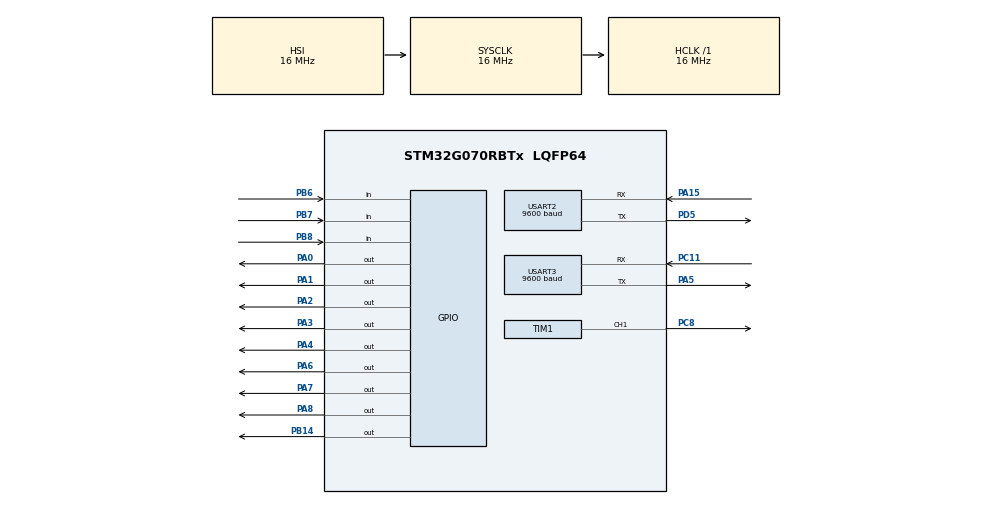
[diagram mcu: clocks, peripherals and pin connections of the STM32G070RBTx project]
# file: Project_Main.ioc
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Mcu.Family=STM32G0
Mcu.Name=STM32G070RBTx
Mcu.Package=LQFP64
PA0.Signal=GPIO_Output
PA1.Signal=GPIO_Output
PA13.Mode=Serial_Wire
PA13.Signal=SYS_SWDIO
PA14-BOOT0.Mode=Serial_Wire
PA14-BOOT0.Signal=SYS_SWCLK
PA15.Mode=Asynchronous
PA15.Signal=USART2_RX
PA2.Signal=GPIO_Output
PA3.Signal=GPIO_Output
PA4.Signal=GPIO_Output
PA5.Mode=Asynchronous
PA5.Signal=USART3_TX
PA6.Signal=GPIO_Output
PA7.Signal=GPIO_Output
PA8.Signal=GPIO_Output
PB14.Signal=GPIO_Output
PB6.Signal=GPIO_Input
PB7.Signal=GPIO_Input
PB8.Signal=GPIO_Input
PC11.Mode=Asynchronous
PC11.Signal=USART3_RX
PC14-OSC32_IN\ (PC14).Mode=LSE-External-Oscillator
PC14-OSC32_IN\ (PC14).Signal=RCC_OSC32_IN
PC15-OSC32_OUT\ (PC15).Mode=LSE-External-Oscillator
PC15-OSC32_OUT\ (PC15).Signal=RCC_OSC32_OUT
PC8.Signal=S_TIM1_CH1
PD5.Mode=Asynchronous
PD5.Signal=USART2_TX
PF0-OSC_IN\ (PF0).Mode=HSE-External-Clock-Source
PF0-OSC_IN\ (PF0).Signal=RCC_OSC_IN
ProjectManager.HeapSize=0x200
ProjectManager.StackSize=0x400
ProjectManager.TargetToolchain=STM32CubeIDE
RCC.AHBFreq_Value=16000000
RCC.CortexFreq_Value=16000000
RCC.EXTERNAL_CLOCK_VALUE=12288000
RCC.HCLKFreq_Value=16000000
RCC.HSE_VALUE=8000000
RCC.HSI_VALUE=16000000
RCC.SYSCLKFreq_VALUE=16000000
RCC.VCOOutputFreq_Value=128000000
SH.S_TIM1_CH1.0=TIM1_CH1,PWM Generation1 CH1
TIM1.Channel-PWM\ Generation1\ CH1=TIM_CHANNEL_1
TIM1.Period=255
TIM3.Channel-Output\ Compare1\ No\ Output=TIM_CHANNEL_1
USART2.BaudRate=9600
USART2.VirtualMode-Asynchronous=VM_ASYNC
USART3.BaudRate=9600
USART3.VirtualMode-Asynchronous=VM_ASYNC
VP_TIM3_VS_no_output1.Mode=Output Compare1 No Output
board=NUCLEO-G070RB

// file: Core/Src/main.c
/* USER CODE BEGIN Header */
/**
  ******************************************************************************
  * @file           : main.c
  * @brief          : Main program body
  ******************************************************************************
  * @attention
  *
  * Copyright (c) 2023 STMicroelectronics.
  * All rights reserved.
  *
  * This software is licensed under terms that can be found in the LICENSE file
  * in the root directory of this software component.
  * If no LICENSE file comes with this software, it is provided AS-IS.
  *
  ******************************************************************************
  */
/* USER CODE END Header */
#include "main.h"

/* USER CODE BEGIN Includes */

#include "stm32g0xx_hal.h"
/* USER CODE END Includes */

/* USER CODE BEGIN PD */
#define enA GPIO_PIN_0
#define in1 GPIO_PIN_1
#define in2 GPIO_PIN_2
#define in3 GPIO_PIN_3
#define in4 GPIO_PIN_4
#define enB GPIO_PIN_6

#define L_S GPIO_PIN_6
#define R_S GPIO_PIN_7

#define echo GPIO_PIN_8
#define trigger GPIO_PIN_7

#define servo GPIO_PIN_8

/* USER CODE END PD */

TIM_HandleTypeDef htim1;
TIM_HandleTypeDef htim3;

UART_HandleTypeDef huart2;
UART_HandleTypeDef huart3;

/* USER CODE BEGIN PV */
uint8_t rfidData[4]; // Buffer to store RFID tag data
char value;

/* USER CODE END PV */

void SystemClock_Config(void);
static void MX_GPIO_Init(void);
static void MX_USART2_UART_Init(void);
static void MX_TIM3_Init(void);
static void MX_USART3_UART_Init(void);
static void MX_TIM1_Init(void);
/* USER CODE BEGIN PFP */
int Set = 15;
int distance_L, distance_F, distance_R;

void servoPulse(uint16_t pin, uint16_t angle);
long Ultrasonic_read(void);
void compareDistance(void);
void Check_side(void);
void forword(void);
void backword(void);
void turnRight(void);
void turnLeft(void);
void Stop(void);

/* USER CODE END PFP */

/* USER CODE BEGIN 0 */
void RFID_ReceiveData(uint8_t* data, uint16_t size);
void RFID_ReceiveData2(uint8_t* data, uint16_t size);

/* USER CODE END 0 */

int main(void)
{

  /* MCU Configuration--------------------------------------------------------*/

  /* Reset of all peripherals, Initializes the Flash interface and the Systick. */
  HAL_Init();

  /* Configure the system clock */
  SystemClock_Config();

  /* Initialize all configured peripherals */
  MX_GPIO_Init();
  MX_USART2_UART_Init();
  MX_TIM3_Init();
  MX_USART3_UART_Init();
  MX_TIM1_Init();
  /* USER CODE BEGIN 2 */
  HAL_TIM_Base_Start(&htim3);
  HAL_TIM_PWM_Start(&htim1, TIM_CHANNEL_1);
  HAL_TIM_PWM_Start(&htim1, TIM_CHANNEL_2);
  HAL_TIM_PWM_Start(&htim1, TIM_CHANNEL_3);
  HAL_TIM_PWM_Start(&htim1, TIM_CHANNEL_4);

  for (int angle = 70; angle <= 140; angle += 5)
    {
      servoPulse(servo, angle);
    }
    for (int angle = 140; angle >= 0; angle -= 5)
    {
      servoPulse(servo, angle);
    }

    for (int angle = 0; angle <= 70; angle += 5)
    {
      servoPulse(servo, angle);
    }

    distance_F = Ultrasonic_read();

    HAL_Delay(500);

  /* USER CODE END 2 */

  /* Infinite loop */
  while (1)
  {

    /* USER CODE BEGIN 3 */
//	  distance_F = Ultrasonic_read();
//	  HAL_UART_Transmit(&huart2, (uint8_t*)"D F=", 4, HAL_MAX_DELAY);
//	  HAL_UART_Transmit(&huart2, (uint8_t*)distance_F, sizeof(distance_F), HAL_MAX_DELAY);
//	  if ((HAL_GPIO_ReadPin(GPIOA, R_S) == GPIO_PIN_RESET) && (HAL_GPIO_ReadPin(GPIOA, L_S) == GPIO_PIN_RESET))
//	  {
//		  if (distance_F > Set)
//		  {
//			  forword();
//	      }
//	      else
//	      {
//	          Check_side();
//	      }
//	   }
//	   else if ((HAL_GPIO_ReadPin(GPIOA, R_S) == GPIO_PIN_SET) && (HAL_GPIO_ReadPin(GPIOA, L_S) == GPIO_PIN_RESET))
//	   {
//	      turnRight();
//	   }
//	   else if ((HAL_GPIO_ReadPin(GPIOA, R_S) == GPIO_PIN_RESET) && (HAL_GPIO_ReadPin(GPIOA, L_S) == GPIO_PIN_SET))
//	   {
//	      turnLeft();
//	   }
//	   HAL_Delay(10);

	  HAL_GPIO_WritePin(GPIOB, GPIO_PIN_14, SET);

	   if (HAL_UART_Receive(&huart3, (uint8_t*)&value, 1, 0) == HAL_OK)
	       {
	         if (value == 'F')
	         {
	        	forword();
	        	HAL_GPIO_WritePin(GPIOB, GPIO_PIN_14, RESET);
//HAL_GPIO_TogglePin(GPIOB, GPIO_PIN_14);
//HAL_Delay(500);
	         }
	         else if (value == 'B')
	         {
	        	backword();
	        	//HAL_GPIO_TogglePin(GPIOB, GPIO_PIN_14);
	        	HAL_Delay(100);
	         }
	         else if (value == 'L')
	         {
	        	//turnLeft();
	        	//HAL_GPIO_TogglePin(GPIOB, GPIO_PIN_14);
	        	//HAL_Delay(1000);
	         }
	         else if (value == 'R')
	         {
	        	//turnRight();
	        	//HAL_GPIO_TogglePin(GPIOB, GPIO_PIN_14);
	        	//HAL_Delay(2000);
	         }
	         else
	         {
	        	Stop();
	        	HAL_GPIO_WritePin(GPIOB, GPIO_PIN_14, RESET);
	        		        	//HAL_Delay(2000);
	         }
	       }

  }

  /* USER CODE END 3 */
}

void SystemClock_Config(void)
{
  RCC_OscInitTypeDef RCC_OscInitStruct = {0};
  RCC_ClkInitTypeDef RCC_ClkInitStruct = {0};

  /** Configure the main internal regulator output voltage
  */
  HAL_PWREx_ControlVoltageScaling(PWR_REGULATOR_VOLTAGE_SCALE1);

  /** Initializes the RCC Oscillators according to the specified parameters
  * in the RCC_OscInitTypeDef structure.
  */
  RCC_OscInitStruct.OscillatorType = RCC_OSCILLATORTYPE_HSI;
  RCC_OscInitStruct.HSIState = RCC_HSI_ON;
  RCC_OscInitStruct.HSIDiv = RCC_HSI_DIV1;
  RCC_OscInitStruct.HSICalibrationValue = RCC_HSICALIBRATION_DEFAULT;
  RCC_OscInitStruct.PLL.PLLState = RCC_PLL_NONE;
  if (HAL_RCC_OscConfig(&RCC_OscInitStruct) != HAL_OK)
  {
    Error_Handler();
  }

  /** Initializes the CPU, AHB and APB buses clocks
  */
  RCC_ClkInitStruct.ClockType = RCC_CLOCKTYPE_HCLK|RCC_CLOCKTYPE_SYSCLK
                              |RCC_CLOCKTYPE_PCLK1;
  RCC_ClkInitStruct.SYSCLKSource = RCC_SYSCLKSOURCE_HSI;
  RCC_ClkInitStruct.AHBCLKDivider = RCC_SYSCLK_DIV1;
  RCC_ClkInitStruct.APB1CLKDivider = RCC_HCLK_DIV1;

  if (HAL_RCC_ClockConfig(&RCC_ClkInitStruct, FLASH_LATENCY_0) != HAL_OK)
  {
    Error_Handler();
  }
}

static void MX_TIM1_Init(void)
{

  TIM_MasterConfigTypeDef sMasterConfig = {0};
  TIM_OC_InitTypeDef sConfigOC = {0};
  TIM_BreakDeadTimeConfigTypeDef sBreakDeadTimeConfig = {0};

  htim1.Instance = TIM1;
  htim1.Init.Prescaler = 0;
  htim1.Init.CounterMode = TIM_COUNTERMODE_UP;
  htim1.Init.Period = 255;
  htim1.Init.ClockDivision = TIM_CLOCKDIVISION_DIV1;
  htim1.Init.RepetitionCounter = 0;
  htim1.Init.AutoReloadPreload = TIM_AUTORELOAD_PRELOAD_DISABLE;
  if (HAL_TIM_PWM_Init(&htim1) != HAL_OK)
  {
    Error_Handler();
  }
  sMasterConfig.MasterOutputTrigger = TIM_TRGO_RESET;
  sMasterConfig.MasterOutputTrigger2 = TIM_TRGO2_RESET;
  sMasterConfig.MasterSlaveMode = TIM_MASTERSLAVEMODE_DISABLE;
  if (HAL_TIMEx_MasterConfigSynchronization(&htim1, &sMasterConfig) != HAL_OK)
  {
    Error_Handler();
  }
  sConfigOC.OCMode = TIM_OCMODE_PWM1;
  sConfigOC.Pulse = 0;
  sConfigOC.OCPolarity = TIM_OCPOLARITY_HIGH;
  sConfigOC.OCNPolarity = TIM_OCNPOLARITY_HIGH;
  sConfigOC.OCFastMode = TIM_OCFAST_DISABLE;
  sConfigOC.OCIdleState = TIM_OCIDLESTATE_RESET;
  sConfigOC.OCNIdleState = TIM_OCNIDLESTATE_RESET;
  if (HAL_TIM_PWM_ConfigChannel(&htim1, &sConfigOC, TIM_CHANNEL_1) != HAL_OK)
  {
    Error_Handler();
  }
  sBreakDeadTimeConfig.OffStateRunMode = TIM_OSSR_DISABLE;
  sBreakDeadTimeConfig.OffStateIDLEMode = TIM_OSSI_DISABLE;
  sBreakDeadTimeConfig.LockLevel = TIM_LOCKLEVEL_OFF;
  sBreakDeadTimeConfig.DeadTime = 0;
  sBreakDeadTimeConfig.BreakState = TIM_BREAK_DISABLE;
  sBreakDeadTimeConfig.BreakPolarity = TIM_BREAKPOLARITY_HIGH;
  sBreakDeadTimeConfig.BreakFilter = 0;
  sBreakDeadTimeConfig.BreakAFMode = TIM_BREAK_AFMODE_INPUT;
  sBreakDeadTimeConfig.Break2State = TIM_BREAK2_DISABLE;
  sBreakDeadTimeConfig.Break2Polarity = TIM_BREAK2POLARITY_HIGH;
  sBreakDeadTimeConfig.Break2Filter = 0;
  sBreakDeadTimeConfig.Break2AFMode = TIM_BREAK_AFMODE_INPUT;
  sBreakDeadTimeConfig.AutomaticOutput = TIM_AUTOMATICOUTPUT_DISABLE;
  if (HAL_TIMEx_ConfigBreakDeadTime(&htim1, &sBreakDeadTimeConfig) != HAL_OK)
  {
    Error_Handler();
  }
  /* USER CODE BEGIN TIM1_Init 2 */
  TIM_ClockConfigTypeDef sClockSourceConfig = {0};

    htim1.Instance = TIM1;
    htim1.Init.Prescaler = 0;
    htim1.Init.CounterMode = TIM_COUNTERMODE_UP;
    htim1.Init.Period = 255;
    htim1.Init.ClockDivision = TIM_CLOCKDIVISION_DIV1;
    htim1.Init.RepetitionCounter = 0;
    htim1.Init.AutoReloadPreload = TIM_AUTORELOAD_PRELOAD_DISABLE;
    if (HAL_TIM_PWM_Init(&htim1) != HAL_OK)
    {
      Error_Handler();
    }

    sClockSourceConfig.ClockSource = TIM_CLOCKSOURCE_INTERNAL;
    if (HAL_TIM_ConfigClockSource(&htim1, &sClockSourceConfig) != HAL_OK)
    {
      Error_Handler();
    }

    if (HAL_TIM_PWM_ConfigChannel(&htim1, &sConfigOC, TIM_CHANNEL_1) != HAL_OK)
    {
      Error_Handler();
    }

    if (HAL_TIM_PWM_ConfigChannel(&htim1, &sConfigOC, TIM_CHANNEL_2) != HAL_OK)
    {
      Error_Handler();
    }

    if (HAL_TIM_PWM_ConfigChannel(&htim1, &sConfigOC, TIM_CHANNEL_3) != HAL_OK)
    {
      Error_Handler();
    }

    if (HAL_TIM_PWM_ConfigChannel(&htim1, &sConfigOC, TIM_CHANNEL_4) != HAL_OK)
    {
      Error_Handler();
    }

    sMasterConfig.MasterOutputTrigger = TIM_TRGO_RESET;
    sMasterConfig.MasterOutputTrigger2 = TIM_TRGO2_RESET;
    sMasterConfig.MasterSlaveMode = TIM_MASTERSLAVEMODE_DISABLE;
    if (HAL_TIMEx_MasterConfigSynchronization(&htim1, &sMasterConfig) != HAL_OK)
    {
      Error_Handler();
    }

  /* USER CODE END TIM1_Init 2 */
  HAL_TIM_MspPostInit(&htim1);

}

static void MX_TIM3_Init(void)
{

  TIM_MasterConfigTypeDef sMasterConfig = {0};
  TIM_OC_InitTypeDef sConfigOC = {0};

  htim3.Instance = TIM3;
  htim3.Init.Prescaler = 0;
  htim3.Init.CounterMode = TIM_COUNTERMODE_UP;
  htim3.Init.Period = 65535;
  htim3.Init.ClockDivision = TIM_CLOCKDIVISION_DIV1;
  htim3.Init.AutoReloadPreload = TIM_AUTORELOAD_PRELOAD_DISABLE;
  if (HAL_TIM_OC_Init(&htim3) != HAL_OK)
  {
    Error_Handler();
  }
  sMasterConfig.MasterOutputTrigger = TIM_TRGO_RESET;
  sMasterConfig.MasterSlaveMode = TIM_MASTERSLAVEMODE_DISABLE;
  if (HAL_TIMEx_MasterConfigSynchronization(&htim3, &sMasterConfig) != HAL_OK)
  {
    Error_Handler();
  }
  sConfigOC.OCMode = TIM_OCMODE_TIMING;
  sConfigOC.Pulse = 0;
  sConfigOC.OCPolarity = TIM_OCPOLARITY_HIGH;
  sConfigOC.OCFastMode = TIM_OCFAST_DISABLE;
  if (HAL_TIM_OC_ConfigChannel(&htim3, &sConfigOC, TIM_CHANNEL_1) != HAL_OK)
  {
    Error_Handler();
  }

}

static void MX_USART2_UART_Init(void)
{

  huart2.Instance = USART2;
  huart2.Init.BaudRate = 9600;
  huart2.Init.WordLength = UART_WORDLENGTH_8B;
  huart2.Init.StopBits = UART_STOPBITS_1;
  huart2.Init.Parity = UART_PARITY_NONE;
  huart2.Init.Mode = UART_MODE_TX_RX;
  huart2.Init.HwFlowCtl = UART_HWCONTROL_NONE;
  huart2.Init.OverSampling = UART_OVERSAMPLING_16;
  huart2.Init.OneBitSampling = UART_ONE_BIT_SAMPLE_DISABLE;
  huart2.Init.ClockPrescaler = UART_PRESCALER_DIV1;
  huart2.AdvancedInit.AdvFeatureInit = UART_ADVFEATURE_NO_INIT;
  if (HAL_UART_Init(&huart2) != HAL_OK)
  {
    Error_Handler();
  }
  if (HAL_UARTEx_SetTxFifoThreshold(&huart2, UART_TXFIFO_THRESHOLD_1_8) != HAL_OK)
  {
    Error_Handler();
  }
  if (HAL_UARTEx_SetRxFifoThreshold(&huart2, UART_RXFIFO_THRESHOLD_1_8) != HAL_OK)
  {
    Error_Handler();
  }
  if (HAL_UARTEx_DisableFifoMode(&huart2) != HAL_OK)
  {
    Error_Handler();
  }

}

static void MX_USART3_UART_Init(void)
{

  huart3.Instance = USART3;
  huart3.Init.BaudRate = 9600;
  huart3.Init.WordLength = UART_WORDLENGTH_8B;
  huart3.Init.StopBits = UART_STOPBITS_1;
  huart3.Init.Parity = UART_PARITY_NONE;
  huart3.Init.Mode = UART_MODE_TX_RX;
  huart3.Init.HwFlowCtl = UART_HWCONTROL_NONE;
  huart3.Init.OverSampling = UART_OVERSAMPLING_16;
  huart3.Init.OneBitSampling = UART_ONE_BIT_SAMPLE_DISABLE;
  huart3.Init.ClockPrescaler = UART_PRESCALER_DIV1;
  huart3.AdvancedInit.AdvFeatureInit = UART_ADVFEATURE_NO_INIT;
  if (HAL_UART_Init(&huart3) != HAL_OK)
  {
    Error_Handler();
  }

}

static void MX_GPIO_Init(void)
{
  GPIO_InitTypeDef GPIO_InitStruct = {0};

  /* GPIO Ports Clock Enable */
  __HAL_RCC_GPIOC_CLK_ENABLE();
  __HAL_RCC_GPIOF_CLK_ENABLE();
  __HAL_RCC_GPIOA_CLK_ENABLE();
  __HAL_RCC_GPIOB_CLK_ENABLE();
  __HAL_RCC_GPIOD_CLK_ENABLE();

  /*Configure GPIO pin Output Level */
  HAL_GPIO_WritePin(GPIOA, GPIO_PIN_0|GPIO_PIN_1|GPIO_PIN_2|GPIO_PIN_3
                          |GPIO_PIN_4|GPIO_PIN_6|GPIO_PIN_7|GPIO_PIN_8, GPIO_PIN_RESET);

  /*Configure GPIO pin Output Level */
  HAL_GPIO_WritePin(GPIOB, GPIO_PIN_14, GPIO_PIN_RESET);

  /*Configure GPIO pins : PA0 PA1 PA2 PA3
                           PA4 PA6 PA7 PA8 */
  GPIO_InitStruct.Pin = GPIO_PIN_0|GPIO_PIN_1|GPIO_PIN_2|GPIO_PIN_3
                          |GPIO_PIN_4|GPIO_PIN_6|GPIO_PIN_7|GPIO_PIN_8;
  GPIO_InitStruct.Mode = GPIO_MODE_OUTPUT_PP;
  GPIO_InitStruct.Pull = GPIO_NOPULL;
  GPIO_InitStruct.Speed = GPIO_SPEED_FREQ_LOW;
  HAL_GPIO_Init(GPIOA, &GPIO_InitStruct);

  /*Configure GPIO pin : PB14 */
  GPIO_InitStruct.Pin = GPIO_PIN_14;
  GPIO_InitStruct.Mode = GPIO_MODE_OUTPUT_PP;
  GPIO_InitStruct.Pull = GPIO_NOPULL;
  GPIO_InitStruct.Speed = GPIO_SPEED_FREQ_LOW;
  HAL_GPIO_Init(GPIOB, &GPIO_InitStruct);

  /*Configure GPIO pins : PB6 PB7 PB8 */
  GPIO_InitStruct.Pin = GPIO_PIN_6|GPIO_PIN_7|GPIO_PIN_8;
  GPIO_InitStruct.Mode = GPIO_MODE_INPUT;
  GPIO_InitStruct.Pull = GPIO_NOPULL;
  HAL_GPIO_Init(GPIOB, &GPIO_InitStruct);

/* USER CODE BEGIN MX_GPIO_Init_2 */
  /*Configure GPIO pins : L_S R_S */
    GPIO_InitStruct.Pin = L_S | R_S;
    GPIO_InitStruct.Mode = GPIO_MODE_INPUT;
    GPIO_InitStruct.Pull = GPIO_NOPULL;
    HAL_GPIO_Init(GPIOB, &GPIO_InitStruct);

    /*Configure GPIO pins : enA in1 in2 in3 in4 enB */
    GPIO_InitStruct.Pin = enA | in1 | in2 | in3 | in4 | enB;
    GPIO_InitStruct.Mode = GPIO_MODE_OUTPUT_PP;
    GPIO_InitStruct.Pull = GPIO_NOPULL;
    GPIO_InitStruct.Speed = GPIO_SPEED_FREQ_LOW;
    HAL_GPIO_Init(GPIOA, &GPIO_InitStruct);

    /*Configure GPIO pin : trigger */
    GPIO_InitStruct.Pin = trigger;
    GPIO_InitStruct.Mode = GPIO_MODE_OUTPUT_PP;
    GPIO_InitStruct.Pull = GPIO_NOPULL;
    GPIO_InitStruct.Speed = GPIO_SPEED_FREQ_LOW;
    HAL_GPIO_Init(GPIOA, &GPIO_InitStruct);

    /*Configure GPIO pin : echo */
    GPIO_InitStruct.Pin = echo;
    GPIO_InitStruct.Mode = GPIO_MODE_INPUT;
    GPIO_InitStruct.Pull = GPIO_NOPULL;
    HAL_GPIO_Init(GPIOB, &GPIO_InitStruct);

    /*Configure GPIO pin : servo */
    GPIO_InitStruct.Pin = servo;
    GPIO_InitStruct.Mode = GPIO_MODE_OUTPUT_PP;
    GPIO_InitStruct.Pull = GPIO_NOPULL;
    GPIO_InitStruct.Speed = GPIO_SPEED_FREQ_LOW;
    HAL_GPIO_Init(GPIOA, &GPIO_InitStruct);
/* USER CODE END MX_GPIO_Init_2 */
}

/* USER CODE BEGIN 4 */
void servoPulse(uint16_t pin, uint16_t angle)
{
  uint16_t pwm = (angle * 11) + 500;
  HAL_GPIO_WritePin(GPIOA, pin, GPIO_PIN_SET);
  TIM3->CCR1 = pwm;
  HAL_Delay(50);
  HAL_GPIO_WritePin(GPIOA, pin, GPIO_PIN_RESET);
  HAL_Delay(50);
}

long Ultrasonic_read()
{
  HAL_GPIO_WritePin(GPIOA, trigger, GPIO_PIN_RESET);
  HAL_Delay(2);
  HAL_GPIO_WritePin(GPIOA, trigger, GPIO_PIN_SET);
  HAL_Delay(10);
  long time = __HAL_TIM_GET_COUNTER(&htim3);
  return time / 29 / 2;
}

void compareDistance()
{
  if (distance_L > distance_R)
  {
    turnLeft();
    HAL_Delay(500);
    forword();
    HAL_Delay(600);
    turnRight();
    HAL_Delay(500);
    forword();
    HAL_Delay(600);
    turnRight();
    HAL_Delay(400);
  }
  else
  {
    turnRight();
    HAL_Delay(500);
    forword();
    HAL_Delay(600);
    turnLeft();
    HAL_Delay(500);
    forword();
    HAL_Delay(600);
    turnLeft();
    HAL_Delay(400);
  }
}

void Check_side()
{
  Stop();
  HAL_Delay(100);
  for (int angle = 70; angle <= 140; angle += 5)
  {
    servoPulse(servo, angle);
  }
  HAL_Delay(300);
  distance_R = Ultrasonic_read();
  HAL_UART_Transmit(&huart2, (uint8_t*)"D R=", 4, HAL_MAX_DELAY);
  HAL_UART_Transmit(&huart2, (uint8_t*)distance_R, sizeof(distance_R), HAL_MAX_DELAY);
  HAL_Delay(100);
  for (int angle = 140; angle >= 0; angle -= 5)
  {
    servoPulse(servo, angle);
  }
  HAL_Delay(500);
  distance_L = Ultrasonic_read();
  HAL_UART_Transmit(&huart2, (uint8_t*)"D L=", 4, HAL_MAX_DELAY);
  HAL_UART_Transmit(&huart2, (uint8_t*)distance_L, sizeof(distance_L), HAL_MAX_DELAY);
  HAL_Delay(100);
  for (int angle = 0; angle <= 70; angle += 5)
  {
    servoPulse(servo, angle);
  }
  HAL_Delay(300);
  compareDistance();
}

void forword()
{
  HAL_GPIO_WritePin(GPIOA, in1, GPIO_PIN_RESET);
  HAL_GPIO_WritePin(GPIOA, in2, GPIO_PIN_SET);
  HAL_GPIO_WritePin(GPIOA, in3, GPIO_PIN_SET);
  HAL_GPIO_WritePin(GPIOA, in4, GPIO_PIN_RESET);
}

void backword()
{
  HAL_GPIO_WritePin(GPIOA, in1, GPIO_PIN_SET);
  HAL_GPIO_WritePin(GPIOA, in2, GPIO_PIN_RESET);
  HAL_GPIO_WritePin(GPIOA, in3, GPIO_PIN_RESET);
  HAL_GPIO_WritePin(GPIOA, in4, GPIO_PIN_SET);
}

void turnRight()
{
  HAL_GPIO_WritePin(GPIOA, in1, GPIO_PIN_RESET);
  HAL_GPIO_WritePin(GPIOA, in2, GPIO_PIN_SET);
  HAL_GPIO_WritePin(GPIOA, in3, GPIO_PIN_RESET);
  HAL_GPIO_WritePin(GPIOA, in4, GPIO_PIN_SET);
}

void turnLeft()
{
  HAL_GPIO_WritePin(GPIOA, in1, GPIO_PIN_SET);
  HAL_GPIO_WritePin(GPIOA, in2, GPIO_PIN_RESET);
  HAL_GPIO_WritePin(GPIOA, in3, GPIO_PIN_SET);
  HAL_GPIO_WritePin(GPIOA, in4, GPIO_PIN_RESET);
}

void Stop()
{
  HAL_GPIO_WritePin(GPIOA, in1, GPIO_PIN_RESET);
  HAL_GPIO_WritePin(GPIOA, in2, GPIO_PIN_RESET);
  HAL_GPIO_WritePin(GPIOA, in3, GPIO_PIN_RESET);
  HAL_GPIO_WritePin(GPIOA, in4, GPIO_PIN_RESET);
}

/* USER CODE END 4 */

void Error_Handler(void)
{
  __disable_irq();
  while (1)
  {
  }
}
